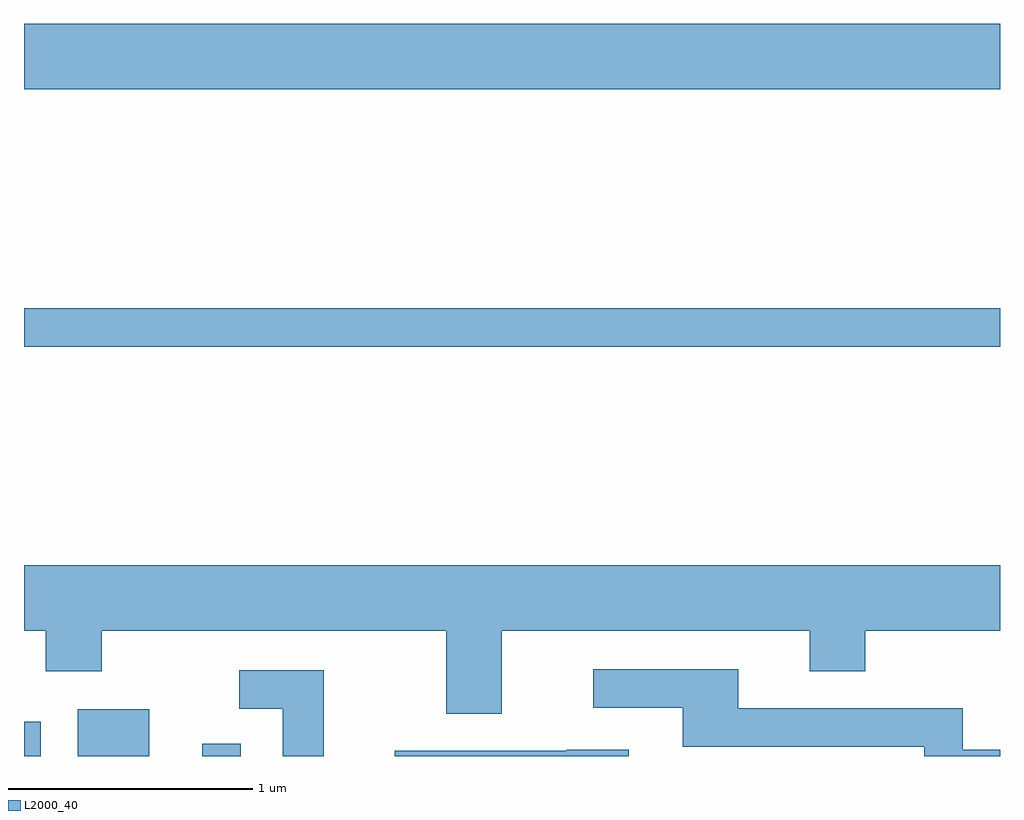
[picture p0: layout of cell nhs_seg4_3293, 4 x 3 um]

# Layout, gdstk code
import gdstk
lib = gdstk.Library(unit=1e-6, precision=1e-09)
def R(c, l, rs):  # rectangles x0, y0, x1, y1
    for r in rs: c.add(gdstk.rectangle(r[:2], r[2:], *l))
def P(c, l, *ps):  # polygons
    for p in ps: c.add(gdstk.Polygon(p, *l))
L2000_40 = (2000, 40)

nhs_seg4_3293 = lib.new_cell('nhs_seg4_3293')
R(nhs_seg4_3293, L2000_40, [(281.611,1311.982,281.679,1312.124), (281.831,1311.982,282.124,1312.174), (282.341,1311.982,282.499,1312.033), (281.611,1313.661,285.611,1313.819), (281.611,1314.716,285.611,1314.984)])
P(nhs_seg4_3293, L2000_40, [(283.569,1312.496),(284.831,1312.496),(284.831,1312.331),(285.059,1312.331),(285.059,1312.496),(285.611,1312.496),(285.611,1312.764),(281.611,1312.764),(281.611,1312.496),(281.701,1312.496),(281.701,1312.331),(281.929,1312.331),(281.929,1312.496),(283.341,1312.496),(283.341,1312.156),(283.569,1312.156)],
  [(285.611,1312.009),(285.459,1312.009),(285.459,1312.179),(284.539,1312.179),(284.539,1312.339),(283.943,1312.339),(283.943,1312.181),(284.311,1312.181),(284.311,1312.021),(285.301,1312.021),(285.301,1311.982),(285.611,1311.982)],
  [(282.839,1312.334),(282.493,1312.334),(282.493,1312.176),(282.671,1312.176),(282.671,1311.982),(282.839,1311.982)],
  [(284.089,1312.009),(283.835,1312.009),(283.835,1312.004),(283.131,1312.004),(283.131,1311.982),(284.089,1311.982)])

lib.write_gds('nhs_seg4_3293.gds')
